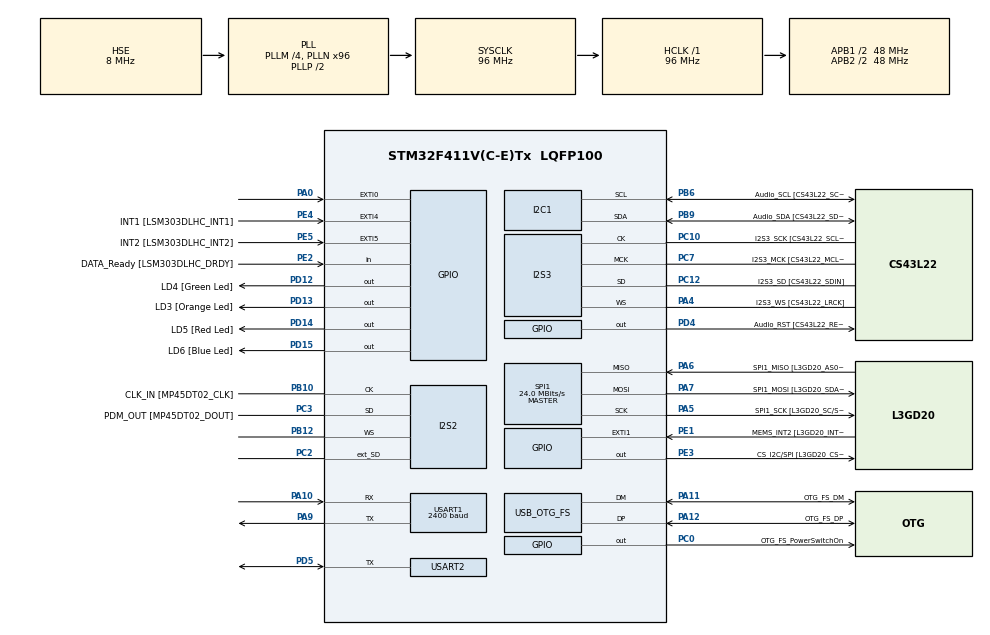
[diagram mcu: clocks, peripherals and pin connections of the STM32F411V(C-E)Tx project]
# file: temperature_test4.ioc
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Dma.Request0=USART2_RX
Dma.Request1=USART2_TX
Dma.USART2_RX.0.Direction=DMA_PERIPH_TO_MEMORY
Dma.USART2_RX.0.FIFOMode=DMA_FIFOMODE_DISABLE
Dma.USART2_RX.0.Instance=DMA1_Stream5
Dma.USART2_RX.0.MemDataAlignment=DMA_MDATAALIGN_BYTE
Dma.USART2_RX.0.MemInc=DMA_MINC_ENABLE
Dma.USART2_RX.0.Mode=DMA_NORMAL
Dma.USART2_RX.0.PeriphDataAlignment=DMA_PDATAALIGN_BYTE
Dma.USART2_RX.0.PeriphInc=DMA_PINC_DISABLE
Dma.USART2_RX.0.Priority=DMA_PRIORITY_LOW
Dma.USART2_TX.1.Direction=DMA_MEMORY_TO_PERIPH
Dma.USART2_TX.1.FIFOMode=DMA_FIFOMODE_DISABLE
Dma.USART2_TX.1.Instance=DMA1_Stream6
Dma.USART2_TX.1.MemDataAlignment=DMA_MDATAALIGN_BYTE
Dma.USART2_TX.1.MemInc=DMA_MINC_ENABLE
Dma.USART2_TX.1.Mode=DMA_NORMAL
Dma.USART2_TX.1.PeriphDataAlignment=DMA_PDATAALIGN_BYTE
Dma.USART2_TX.1.PeriphInc=DMA_PINC_DISABLE
Dma.USART2_TX.1.Priority=DMA_PRIORITY_LOW
I2S2.AudioFreq=I2S_AUDIOFREQ_96K
I2S2.ErrorAudioFreq=0.15 %
I2S2.FullDuplexMode=I2S_FULLDUPLEXMODE_ENABLE
I2S2.Instance=SPI$Index
I2S2.RealAudioFreq=96.153 KHz
I2S2.VirtualMode=I2S_MODE_MASTER
I2S3.AudioFreq=I2S_AUDIOFREQ_96K
I2S3.ErrorAudioFreq=-6.99 %
I2S3.FullDuplexMode=I2S_FULLDUPLEXMODE_DISABLE
I2S3.Instance=SPI$Index
I2S3.RealAudioFreq=89.285 KHz
I2S3.VirtualMode=I2S_MODE_MASTER
Mcu.Family=STM32F4
Mcu.Name=STM32F411V(C-E)Tx
Mcu.Package=LQFP100
NVIC.DMA1_Stream5_IRQn=true\:0\:0\:false\:false\:true\:false\:true\:true
NVIC.DMA1_Stream6_IRQn=true\:0\:0\:false\:false\:true\:false\:true\:true
NVIC.OTG_FS_IRQn=true\:0\:0\:false\:false\:true\:true\:true\:true
NVIC.PriorityGroup=NVIC_PRIORITYGROUP_0
NVIC.RCC_IRQn=true\:0\:0\:false\:false\:true\:true\:false\:true
NVIC.USART2_IRQn=true\:0\:0\:false\:false\:true\:true\:true\:true
PA0-WKUP.GPIO_ModeDefaultEXTI=GPIO_MODE_EVT_RISING
PA0-WKUP.Signal=GPXTI0
PA10.Mode=Asynchronous
PA10.Signal=USART1_RX
PA11.GPIO_Label=OTG_FS_DM
PA11.Mode=Host_Only
PA11.Signal=USB_OTG_FS_DM
PA12.GPIO_Label=OTG_FS_DP
PA12.Mode=Host_Only
PA12.Signal=USB_OTG_FS_DP
PA13.GPIO_Label=SWDIO
PA13.Mode=Serial_Wire
PA13.Signal=SYS_JTMS-SWDIO
PA14.GPIO_Label=SWCLK
PA14.Mode=Serial_Wire
PA14.Signal=SYS_JTCK-SWCLK
PA4.GPIO_Label=I2S3_WS [CS43L22_LRCK]
PA4.GPIO_Mode=GPIO_MODE_AF_PP
PA4.GPIO_PuPd=GPIO_NOPULL
PA4.GPIO_Speed=GPIO_SPEED_FREQ_LOW
PA4.Mode=Half_Duplex_Master
PA4.Signal=I2S3_WS
PA5.GPIO_Label=SPI1_SCK [L3GD20_SC/SPC]
PA5.Mode=Full_Duplex_Master
PA5.Signal=SPI1_SCK
PA6.GPIO_Label=SPI1_MISO [L3GD20_AS0/SDO]
PA6.Mode=Full_Duplex_Master
PA6.Signal=SPI1_MISO
PA7.GPIO_Label=SPI1_MOSI [L3GD20_SDA/SDI/SDO]
PA7.Mode=Full_Duplex_Master
PA7.Signal=SPI1_MOSI
PA9.Mode=Asynchronous
PA9.Signal=USART1_TX
PB10.GPIO_Label=CLK_IN [MP45DT02_CLK]
PB10.Mode=Full_Duplex_Master
PB10.Signal=I2S2_CK
PB12.Mode=Full_Duplex_Master
PB12.Signal=I2S2_WS
PB3.GPIO_Label=SWO
PB3.Signal=SYS_JTDO-SWO
PB6.GPIO_Label=Audio_SCL [CS43L22_SCL]
PB6.GPIO_Mode=GPIO_MODE_AF_OD
PB6.GPIO_Pu=GPIO_PULLUP
PB6.GPIO_PuPd=GPIO_NOPULL
PB6.GPIO_Speed=GPIO_SPEED_FREQ_LOW
PB6.Mode=I2C
PB6.Signal=I2C1_SCL
PB9.GPIO_Label=Audio_SDA [CS43L22_SDA]
PB9.GPIO_Mode=GPIO_MODE_AF_OD
PB9.GPIO_Pu=GPIO_PULLUP
PB9.GPIO_PuPd=GPIO_NOPULL
PB9.GPIO_Speed=GPIO_SPEED_FREQ_LOW
PB9.Mode=I2C
PB9.Signal=I2C1_SDA
PC0.GPIO_Label=OTG_FS_PowerSwitchOn
PC0.PinState=GPIO_PIN_SET
PC0.Signal=GPIO_Output
PC10.GPIO_Label=I2S3_SCK [CS43L22_SCLK]
PC10.GPIO_Mode=GPIO_MODE_AF_PP
PC10.GPIO_PuPd=GPIO_NOPULL
PC10.GPIO_Speed=GPIO_SPEED_FREQ_LOW
PC10.Mode=Half_Duplex_Master
PC10.Signal=I2S3_CK
PC12.GPIO_Label=I2S3_SD [CS43L22_SDIN]
PC12.GPIO_Mode=GPIO_MODE_AF_PP
PC12.GPIO_PuPd=GPIO_NOPULL
PC12.GPIO_Speed=GPIO_SPEED_FREQ_LOW
PC12.Mode=Half_Duplex_Master
PC12.Signal=I2S3_SD
PC14-OSC32_IN.GPIO_Label=PC14-OSC32_IN
PC14-OSC32_IN.Signal=RCC_OSC32_IN
PC15-OSC32_OUT.GPIO_Label=PC15-OSC32_OUT
PC15-OSC32_OUT.Signal=RCC_OSC32_OUT
PC2.Mode=Full_Duplex_Master
PC2.Signal=I2S2_ext_SD
PC3.GPIO_Label=PDM_OUT [MP45DT02_DOUT]
PC3.Mode=Full_Duplex_Master
PC3.Signal=I2S2_SD
PC7.GPIO_Label=I2S3_MCK [CS43L22_MCLK]
PC7.GPIO_Mode=GPIO_MODE_AF_PP
PC7.GPIO_PuPd=GPIO_NOPULL
PC7.GPIO_Speed=GPIO_SPEED_FREQ_LOW
PC7.Mode=Master_Clock_Activated
PC7.Signal=I2S3_MCK
PD12.GPIO_Label=LD4 [Green Led]
PD12.GPIO_PuPd=GPIO_NOPULL
PD12.GPIO_Speed=GPIO_SPEED_FREQ_LOW
PD12.Signal=GPIO_Output
PD13.GPIO_Label=LD3 [Orange Led]
PD13.GPIO_PuPd=GPIO_NOPULL
PD13.GPIO_Speed=GPIO_SPEED_FREQ_LOW
PD13.Signal=GPIO_Output
PD14.GPIO_Label=LD5 [Red Led]
PD14.GPIO_PuPd=GPIO_NOPULL
PD14.GPIO_Speed=GPIO_SPEED_FREQ_LOW
PD14.Signal=GPIO_Output
PD15.GPIO_Label=LD6 [Blue Led]
PD15.GPIO_PuPd=GPIO_NOPULL
PD15.GPIO_Speed=GPIO_SPEED_FREQ_LOW
PD15.Signal=GPIO_Output
PD4.GPIO_Label=Audio_RST [CS43L22_RESET]
PD4.Signal=GPIO_Output
PD5.Mode=Half_duplex(single_wire_mode)
PD5.Signal=USART2_TX
PE1.GPIO_Label=MEMS_INT2 [L3GD20_INT2]
PE1.GPIO_ModeDefaultEXTI=GPIO_MODE_EVT_RISING
PE1.Signal=GPXTI1
PE2.GPIO_Label=DATA_Ready [LSM303DLHC_DRDY]
PE2.Signal=GPIO_Input
PE3.GPIO_Label=CS_I2C/SPI [L3GD20_CS_I2C/SPI]
PE3.Signal=GPIO_Output
PE4.GPIO_Label=INT1 [LSM303DLHC_INT1]
PE4.GPIO_ModeDefaultEXTI=GPIO_MODE_EVT_RISING
PE4.Signal=GPXTI4
PE5.GPIO_Label=INT2 [LSM303DLHC_INT2]
PE5.GPIO_ModeDefaultEXTI=GPIO_MODE_EVT_RISING
PE5.Signal=GPXTI5
PH0\ -\ OSC_IN.GPIO_Label=PH0-OSC_IN
PH0\ -\ OSC_IN.Mode=HSE-External-Oscillator
PH0\ -\ OSC_IN.Signal=RCC_OSC_IN
PH1\ -\ OSC_OUT.GPIO_Label=PH1-OSC_OUT
PH1\ -\ OSC_OUT.Mode=HSE-External-Oscillator
PH1\ -\ OSC_OUT.Signal=RCC_OSC_OUT
ProjectManager.HeapSize=0x200
ProjectManager.StackSize=0x400
ProjectManager.TargetToolchain=STM32CubeIDE
RCC.48MHZClocksFreq_Value=48000000
RCC.AHBFreq_Value=96000000
RCC.APB1CLKDivider=RCC_HCLK_DIV2
RCC.APB1Freq_Value=48000000
RCC.APB1TimFreq_Value=96000000
RCC.APB2CLKDivider=RCC_HCLK_DIV2
RCC.APB2Freq_Value=48000000
RCC.APB2TimFreq_Value=96000000
RCC.CortexFreq_Value=96000000
RCC.HCLKFreq_Value=96000000
RCC.HSE_VALUE=8000000
RCC.HSI_VALUE=16000000
RCC.LSE_VALUE=32768
RCC.PLLI2SM=5
RCC.PLLI2SN=200
RCC.PLLM=4
RCC.PLLN=96
RCC.SYSCLKFreq_VALUE=96000000
RCC.SYSCLKSource=RCC_SYSCLKSOURCE_PLLCLK
RCC.VCOOutputFreq_Value=192000000
SPI1.BaudRatePrescaler=SPI_BAUDRATEPRESCALER_2
SPI1.CalculateBaudRate=24.0 MBits/s
SPI1.Direction=SPI_DIRECTION_2LINES
SPI1.Mode=SPI_MODE_MASTER
SPI1.VirtualType=VM_MASTER
USART1.BaudRate=2400
USART1.VirtualMode=VM_ASYNC
USART2.VirtualMode=VM_ASYNC
USB_HOST.BSP.number=1
USB_HOST.USBH_HandleTypeDef=hUsbHostFS
USB_HOST.VirtualModeFS=Cdc
USB_HOST0.BSP.STBoard=false
USB_HOST0.BSP.api=Unknown
USB_HOST0.BSP.instance=PC0
USB_HOST0.BSP.ip=GPIO
USB_HOST0.BSP.mode=Output
USB_HOST0.BSP.name=Drive_VBUS_FS
USB_HOST0.BSP.solution=PC0
USB_OTG_FS.VirtualMode=Host_Only
USB_OTG_FS.phy_itface=HCD_PHY_EMBEDDED
VP_USB_HOST_VS_USB_HOST_CDC_FS.Mode=CDC_FS
board=STM32F411E-DISCO

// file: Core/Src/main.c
/* USER CODE BEGIN Header */
/**
  ******************************************************************************
  * @file           : main.c
  * @brief          : Main program body
  ******************************************************************************
  * @attention
  *
  * Copyright (c) 2024 STMicroelectronics.
  * All rights reserved.
  *
  * This software is licensed under terms that can be found in the LICENSE file
  * in the root directory of this software component.
  * If no LICENSE file comes with this software, it is provided AS-IS.
  *
  ******************************************************************************
  */
/* USER CODE END Header */
#include "main.h"
#include "usb_host.h"
#include "OneWire.h"
#include "DallasTemperature.h"

I2C_HandleTypeDef hi2c1;

I2S_HandleTypeDef hi2s2;
I2S_HandleTypeDef hi2s3;

SPI_HandleTypeDef hspi1;

UART_HandleTypeDef huart1;
UART_HandleTypeDef huart2;
DMA_HandleTypeDef hdma_usart2_rx;
DMA_HandleTypeDef hdma_usart2_tx;

/* USER CODE BEGIN PV */
OneWire_HandleTypeDef ow1;
DallasTemperature_HandleTypeDef dt1;
/* USER CODE END PV */

void SystemClock_Config(void);
void PeriphCommonClock_Config(void);
static void MX_GPIO_Init(void);
static void MX_DMA_Init(void);
static void MX_I2C1_Init(void);
static void MX_I2S2_Init(void);
static void MX_I2S3_Init(void);
static void MX_SPI1_Init(void);
static void MX_USART1_UART_Init(void);
static void MX_USART2_UART_Init(void);
void MX_USB_HOST_Process(void);

/* USER CODE BEGIN 0 */
int _write(int file, char *ptr, int len)
{
	HAL_UART_Transmit(&huart1, (uint8_t *) ptr, len, HAL_MAX_DELAY);
	return len;
}
void printAddress(CurrentDeviceAddress deviceAddress)
{
  for (uint8_t i = 0; i < 8; i++)
  {
	  printf("0x%02X ", deviceAddress[i]);
  }
}
/* USER CODE END 0 */

int main(void)
{

  /* MCU Configuration--------------------------------------------------------*/

  /* Reset of all peripherals, Initializes the Flash interface and the Systick. */
  HAL_Init();

  /* Configure the system clock */
  SystemClock_Config();

  /* Configure the peripherals common clocks */
  PeriphCommonClock_Config();

  /* Initialize all configured peripherals */
  MX_GPIO_Init();
  MX_DMA_Init();
  MX_I2C1_Init();
  MX_I2S2_Init();
  MX_I2S3_Init();
  MX_SPI1_Init();
  MX_USB_HOST_Init();
  MX_USART1_UART_Init();
  MX_USART2_UART_Init();
  /* USER CODE BEGIN 2 */
  uint8_t uartbuf[] = {"hellow world"};
  HAL_UART_Transmit(&huart1,uartbuf,sizeof(uartbuf),0xFFFF);
  OW_Begin(&ow1, &huart2);
  if(OW_Reset(&ow1) == OW_OK)
  {
    printf("[%8lu] OneWire 1 line devices are present :)\r\n", HAL_GetTick());
  }
  else
  {
    printf("[%8lu] OneWire 1 line no devices :(\r\n", HAL_GetTick());
  }
  DT_SetOneWire(&dt1, &ow1);
  // arrays to hold device address
  CurrentDeviceAddress insideThermometer;
  // locate devices on the bus
  printf("[%8lu] 1-line Locating devices...\r\n", HAL_GetTick());
  DT_Begin(&dt1);
  uint8_t numDevOneLine = DT_GetDeviceCount(&dt1);
  printf("[%8lu] 1-line Found %d devices.\r\n", HAL_GetTick(), numDevOneLine);

  for (int i = 0; i < numDevOneLine; ++i)
  {
  	if (!DT_GetAddress(&dt1, insideThermometer, i))
  		  printf("[%8lu] 1-line: Unable to find address for Device %d\r\n", HAL_GetTick(), i);
  	printf("[%8lu] 1-line: Device %d Address: ", HAL_GetTick(), i);
  	printAddress(insideThermometer);
  	printf("\r\n");
  	// set the resolution to 12 bit (Each Dallas/Maxim device is capable of several different resolutions)
  	DT_SetResolution(&dt1, insideThermometer, 12, true);
  	printf("[%8lu] 1-line: Device %d Resolution: %d\r\n", HAL_GetTick(), i, DT_GetResolution(&dt1, insideThermometer));
  }
  /* USER CODE END 2 */

  /* Infinite loop */
  while (1)
  {
    MX_USB_HOST_Process();
	// call sensors.requestTemperatures() to issue a global temperature
	// request to all devices on the bus
	printf("[%8lu] 1-line: Requesting temperatures...", HAL_GetTick());
	DT_RequestTemperatures(&dt1); // Send the command to get temperatures
	printf("\r\n[%8lu] 1-line: DONE\r\n", HAL_GetTick());
	for (int i = 0; i < numDevOneLine; ++i)
	{
		// After we got the temperatures, we can print them here.
		// We use the function ByIndex, and as an example get the temperature from the first sensor only.
		printf("[%8lu] 1-line: Temperature for the device %d (index %d) is: %.2f\r\n", HAL_GetTick(), i, i, DT_GetTempCByIndex(&dt1, i));
	}

	HAL_Delay(DT_MillisToWaitForConversion(DT_GetAllResolution(&dt1)));
  }
}

void SystemClock_Config(void)
{
  RCC_OscInitTypeDef RCC_OscInitStruct = {0};
  RCC_ClkInitTypeDef RCC_ClkInitStruct = {0};

  /** Configure the main internal regulator output voltage
  */
  __HAL_RCC_PWR_CLK_ENABLE();
  __HAL_PWR_VOLTAGESCALING_CONFIG(PWR_REGULATOR_VOLTAGE_SCALE1);

  /** Initializes the RCC Oscillators according to the specified parameters
  * in the RCC_OscInitTypeDef structure.
  */
  RCC_OscInitStruct.OscillatorType = RCC_OSCILLATORTYPE_HSE;
  RCC_OscInitStruct.HSEState = RCC_HSE_ON;
  RCC_OscInitStruct.PLL.PLLState = RCC_PLL_ON;
  RCC_OscInitStruct.PLL.PLLSource = RCC_PLLSOURCE_HSE;
  RCC_OscInitStruct.PLL.PLLM = 4;
  RCC_OscInitStruct.PLL.PLLN = 96;
  RCC_OscInitStruct.PLL.PLLP = RCC_PLLP_DIV2;
  RCC_OscInitStruct.PLL.PLLQ = 4;
  if (HAL_RCC_OscConfig(&RCC_OscInitStruct) != HAL_OK)
  {
    Error_Handler();
  }

  /** Initializes the CPU, AHB and APB buses clocks
  */
  RCC_ClkInitStruct.ClockType = RCC_CLOCKTYPE_HCLK|RCC_CLOCKTYPE_SYSCLK
                              |RCC_CLOCKTYPE_PCLK1|RCC_CLOCKTYPE_PCLK2;
  RCC_ClkInitStruct.SYSCLKSource = RCC_SYSCLKSOURCE_PLLCLK;
  RCC_ClkInitStruct.AHBCLKDivider = RCC_SYSCLK_DIV1;
  RCC_ClkInitStruct.APB1CLKDivider = RCC_HCLK_DIV2;
  RCC_ClkInitStruct.APB2CLKDivider = RCC_HCLK_DIV2;

  if (HAL_RCC_ClockConfig(&RCC_ClkInitStruct, FLASH_LATENCY_3) != HAL_OK)
  {
    Error_Handler();
  }
}

void PeriphCommonClock_Config(void)
{
  RCC_PeriphCLKInitTypeDef PeriphClkInitStruct = {0};

  /** Initializes the peripherals clock
  */
  PeriphClkInitStruct.PeriphClockSelection = RCC_PERIPHCLK_I2S;
  PeriphClkInitStruct.PLLI2S.PLLI2SN = 200;
  PeriphClkInitStruct.PLLI2S.PLLI2SM = 5;
  PeriphClkInitStruct.PLLI2S.PLLI2SR = 2;
  if (HAL_RCCEx_PeriphCLKConfig(&PeriphClkInitStruct) != HAL_OK)
  {
    Error_Handler();
  }
}

static void MX_I2C1_Init(void)
{

  hi2c1.Instance = I2C1;
  hi2c1.Init.ClockSpeed = 100000;
  hi2c1.Init.DutyCycle = I2C_DUTYCYCLE_2;
  hi2c1.Init.OwnAddress1 = 0;
  hi2c1.Init.AddressingMode = I2C_ADDRESSINGMODE_7BIT;
  hi2c1.Init.DualAddressMode = I2C_DUALADDRESS_DISABLE;
  hi2c1.Init.OwnAddress2 = 0;
  hi2c1.Init.GeneralCallMode = I2C_GENERALCALL_DISABLE;
  hi2c1.Init.NoStretchMode = I2C_NOSTRETCH_DISABLE;
  if (HAL_I2C_Init(&hi2c1) != HAL_OK)
  {
    Error_Handler();
  }

}

static void MX_I2S2_Init(void)
{

  hi2s2.Instance = SPI2;
  hi2s2.Init.Mode = I2S_MODE_MASTER_TX;
  hi2s2.Init.Standard = I2S_STANDARD_PHILIPS;
  hi2s2.Init.DataFormat = I2S_DATAFORMAT_16B;
  hi2s2.Init.MCLKOutput = I2S_MCLKOUTPUT_DISABLE;
  hi2s2.Init.AudioFreq = I2S_AUDIOFREQ_96K;
  hi2s2.Init.CPOL = I2S_CPOL_LOW;
  hi2s2.Init.ClockSource = I2S_CLOCK_PLL;
  hi2s2.Init.FullDuplexMode = I2S_FULLDUPLEXMODE_ENABLE;
  if (HAL_I2S_Init(&hi2s2) != HAL_OK)
  {
    Error_Handler();
  }

}

static void MX_I2S3_Init(void)
{

  hi2s3.Instance = SPI3;
  hi2s3.Init.Mode = I2S_MODE_MASTER_TX;
  hi2s3.Init.Standard = I2S_STANDARD_PHILIPS;
  hi2s3.Init.DataFormat = I2S_DATAFORMAT_16B;
  hi2s3.Init.MCLKOutput = I2S_MCLKOUTPUT_ENABLE;
  hi2s3.Init.AudioFreq = I2S_AUDIOFREQ_96K;
  hi2s3.Init.CPOL = I2S_CPOL_LOW;
  hi2s3.Init.ClockSource = I2S_CLOCK_PLL;
  hi2s3.Init.FullDuplexMode = I2S_FULLDUPLEXMODE_DISABLE;
  if (HAL_I2S_Init(&hi2s3) != HAL_OK)
  {
    Error_Handler();
  }

}

static void MX_SPI1_Init(void)
{

  /* SPI1 parameter configuration*/
  hspi1.Instance = SPI1;
  hspi1.Init.Mode = SPI_MODE_MASTER;
  hspi1.Init.Direction = SPI_DIRECTION_2LINES;
  hspi1.Init.DataSize = SPI_DATASIZE_8BIT;
  hspi1.Init.CLKPolarity = SPI_POLARITY_LOW;
  hspi1.Init.CLKPhase = SPI_PHASE_1EDGE;
  hspi1.Init.NSS = SPI_NSS_SOFT;
  hspi1.Init.BaudRatePrescaler = SPI_BAUDRATEPRESCALER_2;
  hspi1.Init.FirstBit = SPI_FIRSTBIT_MSB;
  hspi1.Init.TIMode = SPI_TIMODE_DISABLE;
  hspi1.Init.CRCCalculation = SPI_CRCCALCULATION_DISABLE;
  hspi1.Init.CRCPolynomial = 10;
  if (HAL_SPI_Init(&hspi1) != HAL_OK)
  {
    Error_Handler();
  }

}

static void MX_USART1_UART_Init(void)
{

  huart1.Instance = USART1;
  huart1.Init.BaudRate = 2400;
  huart1.Init.WordLength = UART_WORDLENGTH_8B;
  huart1.Init.StopBits = UART_STOPBITS_1;
  huart1.Init.Parity = UART_PARITY_NONE;
  huart1.Init.Mode = UART_MODE_TX_RX;
  huart1.Init.HwFlowCtl = UART_HWCONTROL_NONE;
  huart1.Init.OverSampling = UART_OVERSAMPLING_16;
  if (HAL_UART_Init(&huart1) != HAL_OK)
  {
    Error_Handler();
  }

}

static void MX_USART2_UART_Init(void)
{

  huart2.Instance = USART2;
  huart2.Init.BaudRate = 115200;
  huart2.Init.WordLength = UART_WORDLENGTH_8B;
  huart2.Init.StopBits = UART_STOPBITS_1;
  huart2.Init.Parity = UART_PARITY_NONE;
  huart2.Init.Mode = UART_MODE_TX_RX;
  huart2.Init.HwFlowCtl = UART_HWCONTROL_NONE;
  huart2.Init.OverSampling = UART_OVERSAMPLING_16;
  if (HAL_HalfDuplex_Init(&huart2) != HAL_OK)
  {
    Error_Handler();
  }

}

static void MX_DMA_Init(void)
{

  /* DMA controller clock enable */
  __HAL_RCC_DMA1_CLK_ENABLE();

  /* DMA interrupt init */
  /* DMA1_Stream5_IRQn interrupt configuration */
  HAL_NVIC_SetPriority(DMA1_Stream5_IRQn, 0, 0);
  HAL_NVIC_EnableIRQ(DMA1_Stream5_IRQn);
  /* DMA1_Stream6_IRQn interrupt configuration */
  HAL_NVIC_SetPriority(DMA1_Stream6_IRQn, 0, 0);
  HAL_NVIC_EnableIRQ(DMA1_Stream6_IRQn);

}

static void MX_GPIO_Init(void)
{
  GPIO_InitTypeDef GPIO_InitStruct = {0};

  /* GPIO Ports Clock Enable */
  __HAL_RCC_GPIOE_CLK_ENABLE();
  __HAL_RCC_GPIOC_CLK_ENABLE();
  __HAL_RCC_GPIOH_CLK_ENABLE();
  __HAL_RCC_GPIOA_CLK_ENABLE();
  __HAL_RCC_GPIOB_CLK_ENABLE();
  __HAL_RCC_GPIOD_CLK_ENABLE();

  /*Configure GPIO pin Output Level */
  HAL_GPIO_WritePin(CS_I2C_SPI_GPIO_Port, CS_I2C_SPI_Pin, GPIO_PIN_RESET);

  /*Configure GPIO pin Output Level */
  HAL_GPIO_WritePin(OTG_FS_PowerSwitchOn_GPIO_Port, OTG_FS_PowerSwitchOn_Pin, GPIO_PIN_SET);

  /*Configure GPIO pin Output Level */
  HAL_GPIO_WritePin(GPIOD, LD4_Pin|LD3_Pin|LD5_Pin|LD6_Pin
                          |Audio_RST_Pin, GPIO_PIN_RESET);

  /*Configure GPIO pin : DATA_Ready_Pin */
  GPIO_InitStruct.Pin = DATA_Ready_Pin;
  GPIO_InitStruct.Mode = GPIO_MODE_INPUT;
  GPIO_InitStruct.Pull = GPIO_NOPULL;
  HAL_GPIO_Init(DATA_Ready_GPIO_Port, &GPIO_InitStruct);

  /*Configure GPIO pin : CS_I2C_SPI_Pin */
  GPIO_InitStruct.Pin = CS_I2C_SPI_Pin;
  GPIO_InitStruct.Mode = GPIO_MODE_OUTPUT_PP;
  GPIO_InitStruct.Pull = GPIO_NOPULL;
  GPIO_InitStruct.Speed = GPIO_SPEED_FREQ_LOW;
  HAL_GPIO_Init(CS_I2C_SPI_GPIO_Port, &GPIO_InitStruct);

  /*Configure GPIO pins : INT1_Pin INT2_Pin MEMS_INT2_Pin */
  GPIO_InitStruct.Pin = INT1_Pin|INT2_Pin|MEMS_INT2_Pin;
  GPIO_InitStruct.Mode = GPIO_MODE_EVT_RISING;
  GPIO_InitStruct.Pull = GPIO_NOPULL;
  HAL_GPIO_Init(GPIOE, &GPIO_InitStruct);

  /*Configure GPIO pin : OTG_FS_PowerSwitchOn_Pin */
  GPIO_InitStruct.Pin = OTG_FS_PowerSwitchOn_Pin;
  GPIO_InitStruct.Mode = GPIO_MODE_OUTPUT_PP;
  GPIO_InitStruct.Pull = GPIO_NOPULL;
  GPIO_InitStruct.Speed = GPIO_SPEED_FREQ_LOW;
  HAL_GPIO_Init(OTG_FS_PowerSwitchOn_GPIO_Port, &GPIO_InitStruct);

  /*Configure GPIO pin : PA0 */
  GPIO_InitStruct.Pin = GPIO_PIN_0;
  GPIO_InitStruct.Mode = GPIO_MODE_EVT_RISING;
  GPIO_InitStruct.Pull = GPIO_NOPULL;
  HAL_GPIO_Init(GPIOA, &GPIO_InitStruct);

  /*Configure GPIO pins : LD4_Pin LD3_Pin LD5_Pin LD6_Pin
                           Audio_RST_Pin */
  GPIO_InitStruct.Pin = LD4_Pin|LD3_Pin|LD5_Pin|LD6_Pin
                          |Audio_RST_Pin;
  GPIO_InitStruct.Mode = GPIO_MODE_OUTPUT_PP;
  GPIO_InitStruct.Pull = GPIO_NOPULL;
  GPIO_InitStruct.Speed = GPIO_SPEED_FREQ_LOW;
  HAL_GPIO_Init(GPIOD, &GPIO_InitStruct);

}

void Error_Handler(void)
{
  __disable_irq();
  while (1)
  {
  }
}
